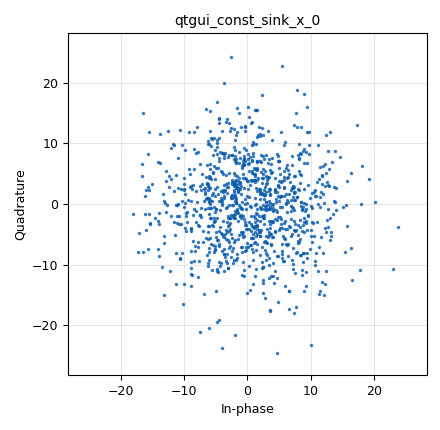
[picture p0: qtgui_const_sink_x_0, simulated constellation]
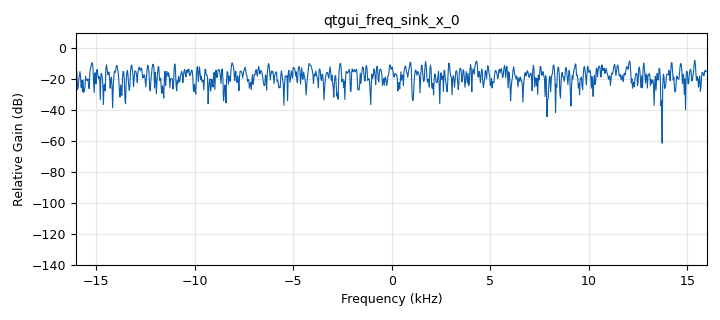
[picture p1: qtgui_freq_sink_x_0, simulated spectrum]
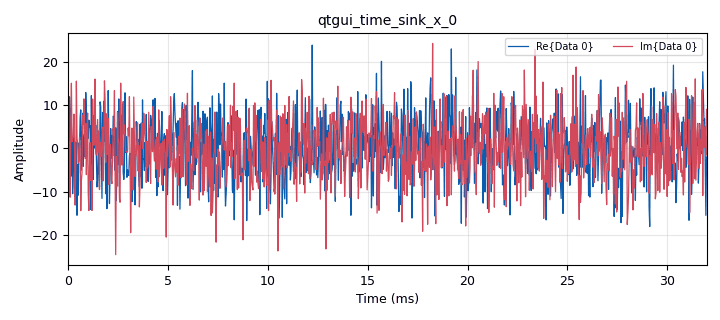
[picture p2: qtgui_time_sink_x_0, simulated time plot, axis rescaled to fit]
options:
  parameters:
    generate_options: qt_gui
    id: session5partD
    output_language: python
    title: Not titled yet
  states: {}

blocks:
- name: amp
  id: variable_qtgui_range
  parameters:
    orient: Qt.Horizontal
    start: '0'
    step: '1'
    stop: '10'
    value: '10'
  states: {}
- name: samp_rate
  id: variable
  parameters:
    value: '32000'
  states: {}
- name: analog_noise_source_x_0
  id: analog_noise_source_x
  parameters:
    amp: amp
    noise_type: analog.GR_GAUSSIAN
    seed: '0'
    type: complex
  states: {}
- name: analog_random_source_x_0
  id: analog_random_source_x
  parameters:
    max: '2'
    min: '0'
    num_samps: '100000'
    repeat: 'True'
    type: byte
  states: {}
- name: blocks_add_xx_0
  id: blocks_add_xx
  parameters:
    type: complex
  states: {}
- name: blocks_multiply_const_vxx_0
  id: blocks_multiply_const_vxx
  parameters:
    const: 1+1j
    type: complex
  states: {}
- name: blocks_throttle_0
  id: blocks_throttle
  parameters:
    samples_per_second: samp_rate
    type: byte
  states: {}
- name: digital_psk_mod_0
  id: digital_psk_mod
  parameters:
    constellation_points: '8'
    differential: 'True'
    excess_bw: '0.35'
    mod_code: '"none"'
    samples_per_symbol: '2'
  states: {}
- name: qtgui_const_sink_x_0
  id: qtgui_const_sink_x
  parameters:
    autoscale: 'True'
    size: '1024'
    type: complex
  states: {}
- name: qtgui_freq_sink_x_0
  id: qtgui_freq_sink_x
  parameters:
    bw: samp_rate
    fc: '0'
    fftsize: '1024'
    type: complex
    wintype: firdes.WIN_BLACKMAN_hARRIS
  states: {}
- name: qtgui_time_sink_x_0
  id: qtgui_time_sink_x
  parameters:
    size: '1024'
    srate: samp_rate
    type: complex
  states: {}

connections:
- [analog_noise_source_x_0, '0', blocks_add_xx_0, '1']
- [analog_random_source_x_0, '0', blocks_throttle_0, '0']
- [blocks_add_xx_0, '0', qtgui_const_sink_x_0, '0']
- [blocks_add_xx_0, '0', qtgui_freq_sink_x_0, '0']
- [blocks_add_xx_0, '0', qtgui_time_sink_x_0, '0']
- [blocks_multiply_const_vxx_0, '0', blocks_add_xx_0, '0']
- [blocks_throttle_0, '0', digital_psk_mod_0, '0']
- [digital_psk_mod_0, '0', blocks_multiply_const_vxx_0, '0']

metadata:
  file_format: 1
